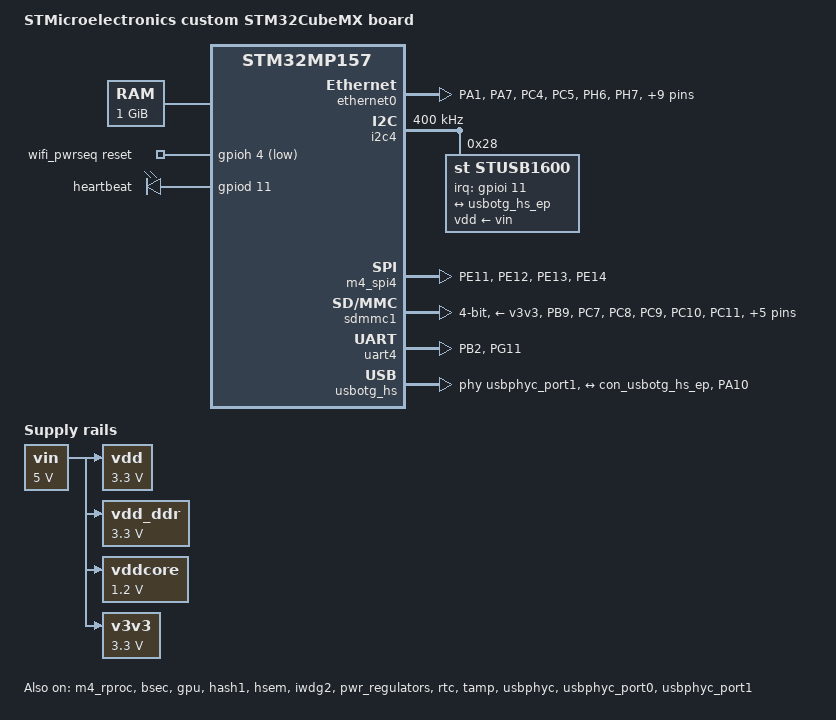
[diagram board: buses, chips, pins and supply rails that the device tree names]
/* SPDX-License-Identifier: (GPL-2.0+ OR BSD-3-Clause) */
/*
 * Copyright (C) STMicroelectronics 2021 - All Rights Reserved
 * Author: STM32CubeMX code generation for STMicroelectronics.
 */

/* For more information on Device Tree configuration, please refer to
 * https://wiki.st.com/stm32mpu/wiki/Category:Device_tree_configuration
 */

/dts-v1/;
#include <dt-bindings/pinctrl/stm32-pinfunc.h>

#include "stm32mp157.dtsi"
#include "stm32mp15xa.dtsi"
#include "stm32mp15xxaa-pinctrl.dtsi"
#include "stm32mp157-m4-srm.dtsi"

/* USER CODE BEGIN includes */
/* USER CODE END includes */

/ {
	model = "STMicroelectronics custom STM32CubeMX board";
	compatible = "st,stm32mp157a-exchange_buf-mx", "st,stm32mp157";

	memory@c0000000 {
		device_type = "memory";
		reg = <0xc0000000 0x40000000>;

		/* USER CODE BEGIN memory */
		/* USER CODE END memory */
	};

	reserved-memory {
		#address-cells = <1>;
		#size-cells = <1>;
		ranges;

		/* USER CODE BEGIN reserved-memory */
		mcuram2: mcuram2@10000000 {
			compatible = "shared-dma-pool";
			reg = <0x10000000 0x40000>;
			no-map;
		};

		vdev0vring0: vdev0vring0@10040000 {
			compatible = "shared-dma-pool";
			reg = <0x10040000 0x1000>;
			no-map;
		};

		vdev0vring1: vdev0vring1@10041000 {
			compatible = "shared-dma-pool";
			reg = <0x10041000 0x1000>;
			no-map;
		};

		vdev0buffer: vdev0buffer@10042000 {
			compatible = "shared-dma-pool";
			reg = <0x10042000 0x4000>;
			no-map;
		};

		mcuram: mcuram@30000000 {
			compatible = "shared-dma-pool";
			reg = <0x30000000 0x40000>;
			no-map;
		};

		retram: retram@38000000 {
			compatible = "shared-dma-pool";
			reg = <0x38000000 0x10000>;
			no-map;
		};
		/* USER CODE END reserved-memory */
	};

	/* USER CODE BEGIN root */
	aliases {
		serial0 = &uart4;
	};

	chosen {
		stdout-path = "serial0:115200n8";
	};

	vin: vin {
		compatible = "regulator-fixed";
		regulator-name = "vin";
		regulator-min-microvolt = <5000000>;
		regulator-max-microvolt = <5000000>;
		regulator-always-on;
	};
	
	vdd: vdd {
		compatible = "regulator-fixed";
		regulator-name = "vdd";
		regulator-min-microvolt = <3300000>;
		regulator-max-microvolt = <3300000>;
		vin-supply = <&vin>;
		regulator-always-on;
	};
	
	vdd_ddr: vdd_ddr {
		compatible = "regulator-fixed";
		regulator-name = "vdd_ddr";
		regulator-min-microvolt = <3300000>;
		regulator-max-microvolt = <3300000>;
		vin-supply = <&vin>;
		regulator-always-on;
	};
	
	vddcore: vddcore {
		compatible = "regulator-fixed";
		regulator-name = "vddcore";
		regulator-min-microvolt = <1200000>;
		regulator-max-microvolt = <1200000>;
		vin-supply = <&vin>;
		regulator-always-on;
	};
	
	v3v3: v3v3 {
		compatible = "regulator-fixed";
		regulator-name = "v3v3";
		regulator-min-microvolt = <3300000>;
		regulator-max-microvolt = <3300000>;
		vin-supply = <&vin>;
		regulator-always-on;
	};

	wifi_pwrseq: wifi-pwrseq {
		compatible = "mmc-pwrseq-simple";
		reset-gpios = <&gpioh 4 GPIO_ACTIVE_LOW>;
	};

	led {
		compatible = "gpio-leds";
		blue {
			label = "heartbeat";
			gpios = <&gpiod 11 GPIO_ACTIVE_HIGH>;
			linux,default-trigger = "heartbeat";
			default-state = "off";
		};
	};
	/* USER CODE END root */

	clocks {
		/* USER CODE BEGIN clocks */
		/* USER CODE END clocks */

#ifndef CONFIG_STM32MP1_TRUSTED
		clk_lsi: clk-lsi {
			clock-frequency = <32000>;
		};
		clk_hsi: clk-hsi {
			clock-frequency = <64000000>;
		};
		clk_csi: clk-csi {
			clock-frequency = <4000000>;
		};
		clk_lse: clk-lse {
			clock-frequency = <32768>;
		};
		clk_hse: clk-hse {
			clock-frequency = <24000000>;
		};
#endif	/*CONFIG_STM32MP1_TRUSTED*/
	};

}; /*root*/

&pinctrl {
	u-boot,dm-pre-reloc;

	eth1_pins_mx: eth1_mx-0 {
		pins1 {
			pinmux = <STM32_PINMUX('A', 1, AF11)>, /* ETH1_RX_CLK */
					 <STM32_PINMUX('A', 7, AF11)>, /* ETH1_RX_CTL */
					 <STM32_PINMUX('C', 4, AF11)>, /* ETH1_RXD0 */
					 <STM32_PINMUX('C', 5, AF11)>, /* ETH1_RXD1 */
					 <STM32_PINMUX('H', 6, AF11)>, /* ETH1_RXD2 */
					 <STM32_PINMUX('H', 7, AF11)>; /* ETH1_RXD3 */
			bias-disable;
		};
		pins2 {
			pinmux = <STM32_PINMUX('A', 2, AF11)>; /* ETH1_MDIO */
			bias-disable;
			drive-push-pull;
			slew-rate = <0>;
		};
		pins3 {
			pinmux = <STM32_PINMUX('B', 11, AF11)>, /* ETH1_TX_CTL */
					 <STM32_PINMUX('B', 13, AF11)>, /* ETH1_TXD1 */
					 <STM32_PINMUX('C', 1, AF11)>, /* ETH1_MDC */
					 <STM32_PINMUX('C', 2, AF11)>, /* ETH1_TXD2 */
					 <STM32_PINMUX('E', 2, AF11)>, /* ETH1_TXD3 */
					 <STM32_PINMUX('G', 4, AF11)>, /* ETH1_GTX_CLK */
					 <STM32_PINMUX('G', 5, AF11)>, /* ETH1_CLK125 */
					 <STM32_PINMUX('G', 13, AF11)>; /* ETH1_TXD0 */
			bias-disable;
			drive-push-pull;
			slew-rate = <2>;
		};
	};

	eth1_sleep_pins_mx: eth1_sleep_mx-0 {
		pins {
			pinmux = <STM32_PINMUX('A', 1, ANALOG)>, /* ETH1_RX_CLK */
					 <STM32_PINMUX('A', 2, ANALOG)>, /* ETH1_MDIO */
					 <STM32_PINMUX('A', 7, ANALOG)>, /* ETH1_RX_CTL */
					 <STM32_PINMUX('B', 11, ANALOG)>, /* ETH1_TX_CTL */
					 <STM32_PINMUX('B', 13, ANALOG)>, /* ETH1_TXD1 */
					 <STM32_PINMUX('C', 1, ANALOG)>, /* ETH1_MDC */
					 <STM32_PINMUX('C', 2, ANALOG)>, /* ETH1_TXD2 */
					 <STM32_PINMUX('C', 4, ANALOG)>, /* ETH1_RXD0 */
					 <STM32_PINMUX('C', 5, ANALOG)>, /* ETH1_RXD1 */
					 <STM32_PINMUX('E', 2, ANALOG)>, /* ETH1_TXD3 */
					 <STM32_PINMUX('G', 4, ANALOG)>, /* ETH1_GTX_CLK */
					 <STM32_PINMUX('G', 5, ANALOG)>, /* ETH1_CLK125 */
					 <STM32_PINMUX('G', 13, ANALOG)>, /* ETH1_TXD0 */
					 <STM32_PINMUX('H', 6, ANALOG)>, /* ETH1_RXD2 */
					 <STM32_PINMUX('H', 7, ANALOG)>; /* ETH1_RXD3 */
		};
	};

	m4_spi4_pins_mx: m4_spi4_mx-0 {
		pins {
			pinmux = <STM32_PINMUX('E', 11, RSVD)>, /* SPI4_NSS */
					 <STM32_PINMUX('E', 12, RSVD)>, /* SPI4_SCK */
					 <STM32_PINMUX('E', 13, RSVD)>, /* SPI4_MISO */
					 <STM32_PINMUX('E', 14, RSVD)>; /* SPI4_MOSI */
		};
	};

	sdmmc1_pins_mx: sdmmc1_mx-0 {
		u-boot,dm-pre-reloc;
		pins1 {
			u-boot,dm-pre-reloc;
			pinmux = <STM32_PINMUX('B', 9, AF11)>, /* SDMMC1_CDIR */
					 <STM32_PINMUX('C', 7, AF8)>, /* SDMMC1_D123DIR */
					 <STM32_PINMUX('C', 8, AF12)>, /* SDMMC1_D0 */
					 <STM32_PINMUX('C', 9, AF12)>, /* SDMMC1_D1 */
					 <STM32_PINMUX('C', 10, AF12)>, /* SDMMC1_D2 */
					 <STM32_PINMUX('C', 11, AF12)>, /* SDMMC1_D3 */
					 <STM32_PINMUX('D', 2, AF12)>, /* SDMMC1_CMD */
					 <STM32_PINMUX('F', 2, AF11)>; /* SDMMC1_D0DIR */
			bias-disable;
			drive-push-pull;
			slew-rate = <1>;
		};
		pins2 {
			u-boot,dm-pre-reloc;
			pinmux = <STM32_PINMUX('C', 12, AF12)>; /* SDMMC1_CK */
			bias-disable;
			drive-push-pull;
			slew-rate = <3>;
		};
		pins3 {
			u-boot,dm-pre-reloc;
			pinmux = <STM32_PINMUX('E', 4, AF8)>; /* SDMMC1_CKIN */
			bias-disable;
		};
	};

	sdmmc1_opendrain_pins_mx: sdmmc1_opendrain_mx-0 {
		u-boot,dm-pre-reloc;
		pins1 {
			u-boot,dm-pre-reloc;
			pinmux = <STM32_PINMUX('B', 9, AF11)>, /* SDMMC1_CDIR */
					 <STM32_PINMUX('C', 7, AF8)>, /* SDMMC1_D123DIR */
					 <STM32_PINMUX('C', 8, AF12)>, /* SDMMC1_D0 */
					 <STM32_PINMUX('C', 9, AF12)>, /* SDMMC1_D1 */
					 <STM32_PINMUX('C', 10, AF12)>, /* SDMMC1_D2 */
					 <STM32_PINMUX('C', 11, AF12)>, /* SDMMC1_D3 */
					 <STM32_PINMUX('F', 2, AF11)>; /* SDMMC1_D0DIR */
			bias-disable;
			drive-push-pull;
			slew-rate = <1>;
		};
		pins2 {
			u-boot,dm-pre-reloc;
			pinmux = <STM32_PINMUX('C', 12, AF12)>; /* SDMMC1_CK */
			bias-disable;
			drive-push-pull;
			slew-rate = <3>;
		};
		pins3 {
			u-boot,dm-pre-reloc;
			pinmux = <STM32_PINMUX('D', 2, AF12)>; /* SDMMC1_CMD */
			bias-disable;
			drive-open-drain;
			slew-rate = <1>;
		};
		pins4 {
			u-boot,dm-pre-reloc;
			pinmux = <STM32_PINMUX('E', 4, AF8)>; /* SDMMC1_CKIN */
			bias-disable;
		};
	};

	sdmmc1_sleep_pins_mx: sdmmc1_sleep_mx-0 {
		u-boot,dm-pre-reloc;
		pins {
			u-boot,dm-pre-reloc;
			pinmux = <STM32_PINMUX('B', 9, ANALOG)>, /* SDMMC1_CDIR */
					 <STM32_PINMUX('C', 7, ANALOG)>, /* SDMMC1_D123DIR */
					 <STM32_PINMUX('C', 8, ANALOG)>, /* SDMMC1_D0 */
					 <STM32_PINMUX('C', 9, ANALOG)>, /* SDMMC1_D1 */
					 <STM32_PINMUX('C', 10, ANALOG)>, /* SDMMC1_D2 */
					 <STM32_PINMUX('C', 11, ANALOG)>, /* SDMMC1_D3 */
					 <STM32_PINMUX('C', 12, ANALOG)>, /* SDMMC1_CK */
					 <STM32_PINMUX('D', 2, ANALOG)>, /* SDMMC1_CMD */
					 <STM32_PINMUX('E', 4, ANALOG)>, /* SDMMC1_CKIN */
					 <STM32_PINMUX('F', 2, ANALOG)>; /* SDMMC1_D0DIR */
		};
	};

	uart4_pins_mx: uart4_mx-0 {
		u-boot,dm-pre-reloc;
		pins1 {
			u-boot,dm-pre-reloc;
			pinmux = <STM32_PINMUX('B', 2, AF8)>; /* UART4_RX */
			bias-disable;
		};
		pins2 {
			u-boot,dm-pre-reloc;
			pinmux = <STM32_PINMUX('G', 11, AF6)>; /* UART4_TX */
			bias-disable;
			drive-push-pull;
			slew-rate = <0>;
		};
	};

	uart4_sleep_pins_mx: uart4_sleep_mx-0 {
		u-boot,dm-pre-reloc;
		pins {
			u-boot,dm-pre-reloc;
			pinmux = <STM32_PINMUX('B', 2, ANALOG)>, /* UART4_RX */
					 <STM32_PINMUX('G', 11, ANALOG)>; /* UART4_TX */
		};
	};

	usb_otg_hs_pins_mx: usb_otg_hs_mx-0 {
		u-boot,dm-pre-reloc;
		pins {
			u-boot,dm-pre-reloc;
			pinmux = <STM32_PINMUX('A', 10, ANALOG)>; /* USB_OTG_HS_ID */
		};
	};

	usb_otg_hs_sleep_pins_mx: usb_otg_hs_sleep_mx-0 {
		u-boot,dm-pre-reloc;
		pins {
			u-boot,dm-pre-reloc;
			pinmux = <STM32_PINMUX('A', 10, ANALOG)>; /* USB_OTG_HS_ID */
		};
	};

	/* USER CODE BEGIN pinctrl */
	/* USER CODE END pinctrl */
};

&pinctrl_z {
	u-boot,dm-pre-reloc;

	i2c4_pins_z_mx: i2c4_mx-0 {
		u-boot,dm-pre-reloc;
		pins {
			u-boot,dm-pre-reloc;
			pinmux = <STM32_PINMUX('Z', 4, AF6)>, /* I2C4_SCL */
					 <STM32_PINMUX('Z', 5, AF6)>; /* I2C4_SDA */
			bias-disable;
			drive-open-drain;
			slew-rate = <0>;
		};
	};

	i2c4_sleep_pins_z_mx: i2c4_sleep_mx-0 {
		u-boot,dm-pre-reloc;
		pins {
			u-boot,dm-pre-reloc;
			pinmux = <STM32_PINMUX('Z', 4, ANALOG)>, /* I2C4_SCL */
					 <STM32_PINMUX('Z', 5, ANALOG)>; /* I2C4_SDA */
		};
	};

	/* USER CODE BEGIN pinctrl_z */
	/* USER CODE END pinctrl_z */
};

&m4_rproc{
	/*Restriction: "memory-region" property is not managed - please to use User-Section if needed*/
	mboxes = <&ipcc 0>, <&ipcc 1>, <&ipcc 2>;
	mbox-names = "vq0", "vq1", "shutdown";
	status = "okay";

	/* USER CODE BEGIN m4_rproc */
	memory-region = <&retram>, <&mcuram>, <&mcuram2>, <&vdev0vring0>,
			<&vdev0vring1>, <&vdev0buffer>;
	interrupt-parent = <&exti>;
	interrupts = <68 1>;
	wakeup-source;
	/* USER CODE END m4_rproc */

	m4_system_resources{
		status = "okay";

		/* USER CODE BEGIN m4_system_resources */
		/* USER CODE END m4_system_resources */
	};
};

&bsec{
	status = "okay";

	/* USER CODE BEGIN bsec */
	/* USER CODE END bsec */
};

&dma1{
	status = "okay";

	/* USER CODE BEGIN dma1 */
	sram = <&dma_pool>;
	/* USER CODE END dma1 */
};

&dma2{
	status = "disabled";

	/* USER CODE BEGIN dma2 */
	sram = <&dma_pool>;
	/* USER CODE END dma2 */
};

&dmamux1{

	dma-masters = <&dma1>;
	dma-channels = <8>;

	status = "okay";

	/* USER CODE BEGIN dmamux1 */
	/* USER CODE END dmamux1 */
};

&ethernet0{
	pinctrl-names = "default", "sleep";
	pinctrl-0 = <&eth1_pins_mx>;
	pinctrl-1 = <&eth1_sleep_pins_mx>;
	status = "okay";

	/* USER CODE BEGIN ethernet0 */
	/* USER CODE END ethernet0 */
};

&gpu{
	status = "okay";

	/* USER CODE BEGIN gpu */
	/* USER CODE END gpu */
};

&hash1{
	u-boot,dm-pre-reloc;
	status = "okay";

	/* USER CODE BEGIN hash1 */
	/* USER CODE END hash1 */
};

&hsem{
	status = "okay";

	/* USER CODE BEGIN hsem */
	/* USER CODE END hsem */
};

&i2c4{
	u-boot,dm-pre-reloc;
	pinctrl-names = "default", "sleep";
	pinctrl-0 = <&i2c4_pins_z_mx>;
	pinctrl-1 = <&i2c4_sleep_pins_z_mx>;
	status = "okay";

	/* USER CODE BEGIN i2c4 */
	clock-frequency = <400000>;
	/delete-property/dmas;
	/delete-property/dma-names;
	
	stusb1600@28 {
		compatible = "st,stusb1600";
		reg = <0x28>;
		interrupts = <11 IRQ_TYPE_EDGE_FALLING>;
		interrupt-parent = <&gpioi>;
		pinctrl-names = "default";
		pinctrl-0 = <&stusb1600_pins_a>;
		status = "okay";
		vdd-supply = <&vin>;

		connector {
			compatible = "usb-c-connector";
			label = "USB-C";
			power-role = "dual";
			power-opmode = "default";

			port {
				con_usbotg_hs_ep: endpoint {
					remote-endpoint = <&usbotg_hs_ep>;
				};
			};
		};
	};
	/* USER CODE END i2c4 */
};

&ipcc{
	status = "okay";

	/* USER CODE BEGIN ipcc */
	/* USER CODE END ipcc */
};

&iwdg2{
	status = "okay";

	/* USER CODE BEGIN iwdg2 */
	/* USER CODE END iwdg2 */
};

&m4_dma2{
	status = "okay";

	/* USER CODE BEGIN m4_dma2 */
	/* USER CODE END m4_dma2 */
};

&m4_spi4{
	pinctrl-names = "default";
	pinctrl-0 = <&m4_spi4_pins_mx>;
	status = "okay";

	/* USER CODE BEGIN m4_spi4 */
	/* USER CODE END m4_spi4 */
};

&mdma1{
	status = "okay";

	/* USER CODE BEGIN mdma1 */
	/* USER CODE END mdma1 */
};

&pwr_regulators{
	status = "okay";

	/* USER CODE BEGIN pwr_regulators */
	vdd-supply = <&vdd>;
	vdd_3v3_usbfs-supply = <&v3v3>;
	/* USER CODE END pwr_regulators */
};

&rcc{
	u-boot,dm-pre-reloc;
	status = "okay";

	/* USER CODE BEGIN rcc */
	/* USER CODE END rcc */
};

&rtc{
	status = "okay";

	/* USER CODE BEGIN rtc */
	/* USER CODE END rtc */
};

&sdmmc1{
	u-boot,dm-pre-reloc;
	pinctrl-names = "default", "opendrain", "sleep";
	pinctrl-0 = <&sdmmc1_pins_mx>;
	pinctrl-1 = <&sdmmc1_opendrain_pins_mx>;
	pinctrl-2 = <&sdmmc1_sleep_pins_mx>;
	status = "okay";

	/* USER CODE BEGIN sdmmc1 */
	cd-gpios = <&gpiob 7 (GPIO_ACTIVE_LOW | GPIO_PULL_UP)>;
	disable-wp;
	st,neg-edge;
	bus-width = <4>;
	vmmc-supply = <&v3v3>;
	/* USER CODE END sdmmc1 */
};

&tamp{
	status = "okay";

	/* USER CODE BEGIN tamp */
	/* USER CODE END tamp */
};

&uart4{
	u-boot,dm-pre-reloc;
	pinctrl-names = "default", "sleep";
	pinctrl-0 = <&uart4_pins_mx>;
	pinctrl-1 = <&uart4_sleep_pins_mx>;
	status = "okay";

	/* USER CODE BEGIN uart4 */
	/delete-property/dmas;
	/delete-property/dma-names;
	/* USER CODE END uart4 */
};

&usbotg_hs{
	u-boot,dm-pre-reloc;
	pinctrl-names = "default", "sleep";
	pinctrl-0 = <&usb_otg_hs_pins_mx>;
	pinctrl-1 = <&usb_otg_hs_sleep_pins_mx>;
	status = "okay";

	/* USER CODE BEGIN usbotg_hs */
	vdd-supply = <&vdd>;
	phys = <&usbphyc_port1 0>;
	phy-names = "usb2-phy";
	usb-role-switch;

	port {
		usbotg_hs_ep: endpoint {
			remote-endpoint = <&con_usbotg_hs_ep>;
		};
	};
	/* USER CODE END usbotg_hs */
};

&usbphyc{
	u-boot,dm-pre-reloc;
	status = "okay";

	/* USER CODE BEGIN usbphyc */
	/* USER CODE END usbphyc */
};

&usbphyc_port0{
	u-boot,dm-pre-reloc;
	status = "okay";

	/* USER CODE BEGIN usbphyc_port0 */
	phy-supply = <&v3v3>;
	/* USER CODE END usbphyc_port0 */
};

&usbphyc_port1{
	u-boot,dm-pre-reloc;
	status = "okay";

	/* USER CODE BEGIN usbphyc_port1 */
	phy-supply = <&v3v3>;
	/* USER CODE END usbphyc_port1 */
};

/* USER CODE BEGIN addons */
&cpu0{
	cpu-supply = <&vddcore>;
};

&cpu1{
	cpu-supply = <&vddcore>;
};

&sram {
	dma_pool: dma_pool@0 {
		reg = <0x50000 0x10000>;
		pool;
	};
};
/* USER CODE END addons */

